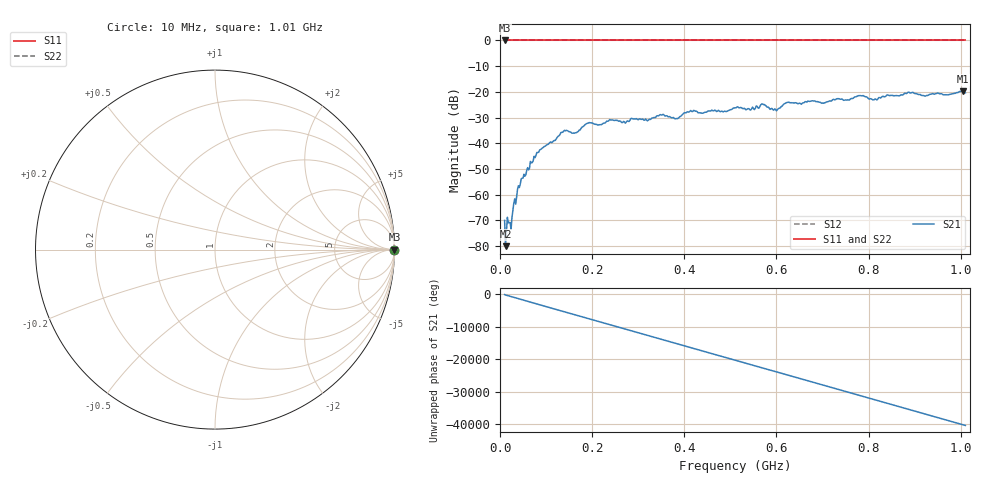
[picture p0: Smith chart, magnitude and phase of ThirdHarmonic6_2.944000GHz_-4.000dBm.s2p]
! 8/17/2025 8:15:28 AM
! C:\ANRITSUVNA\TEMP\TEMP.S2P
! CHANNEL.1
! TR.MEASUREMENT
! RAW.DATA
! RF.CORRECTION.OFF
! AVERAGING.OFF
! IF.BANDWIDTH: 5KHZ
! SWEEPTYPE:  FREQ.SWEEP(Linear)
! Reference Plane Port Info
! PORT:  PORT1  PORT2
! DISTANCE:  0  m  0  m
! TIME:  0  s  0  s
! PHASE.OFFSET:  0  deg.  0  deg.
! LOSS:  0  dB  0  dB
! REF.LOSS:  0  dB  0  dB
! REF.FREQ:  0  Hz  0  Hz
! Power Info
! POWER:  -20  dBm  -20  dBm
! EFF.POWER:  -20  dBm  -20  dBm
! SOURCE.ATTEN:  0  dB  0  dB
! TEST.ATTEN:  0  dB  0  dB
# GHZ S RI R 50.0
! FREQ.GHZ  S11RE  S11IM  S21RE  S21IM  S12RE  S12IM  S22RE  S22IM
!; PortSelection: Port_12
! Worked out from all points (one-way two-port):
!   501 points, 10 MHz to 1.01 GHz, reference 50 ohm
!   highest |S21| = -19.77 dB at 1.004 GHz (marker M1); lowest = -80.1 dB at 12 MHz (marker M2)
!   lowest |S11| = 0.0 dB at 10 MHz (marker M3)
!   |S11| at or under -10 dB: nowhere
!   |S22| runs from 0.0 to 0.0 dB; largest |S21 - S12| = 1.1
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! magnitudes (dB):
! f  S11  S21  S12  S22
! 10 MHz  0.0  -70.0  0.0  0.0
! 12 MHz  0.0  -80.1  0.0  0.0
! 24 MHz  0.0  -73.5  0.0  0.0
! 44 MHz  0.0  -55.9  0.0  0.0
! 78 MHz  0.0  -44.7  0.0  0.0
! 136 MHz  0.0  -35.7  0.0  0.0
! 162 MHz  0.0  -36.0  0.0  0.0
! 178 MHz  0.0  -33.8  0.0  0.0
! 194 MHz  0.0  -31.9  0.0  0.0
! 322 MHz  0.0  -31.0  0.0  0.0
! 344 MHz  0.0  -29.4  0.0  0.0
! 384 MHz  0.0  -30.4  0.0  0.0
! 410 MHz  0.0  -27.9  0.0  0.0
! 510 MHz  0.0  -26.2  0.0  0.0
! 570 MHz  0.0  -24.8  0.0  0.0
! 598 MHz  0.0  -26.8  0.0  0.0
! 622 MHz  0.0  -24.2  0.0  0.0
! 678 MHz  0.0  -23.5  0.0  0.0
! 814 MHz  0.0  -22.8  0.0  0.0
! 844 MHz  0.0  -21.4  0.0  0.0
! 1.004 GHz  0.0  -19.8  0.0  0.0
! 1.01 GHz  0.0  -20.3  0.0  0.0
